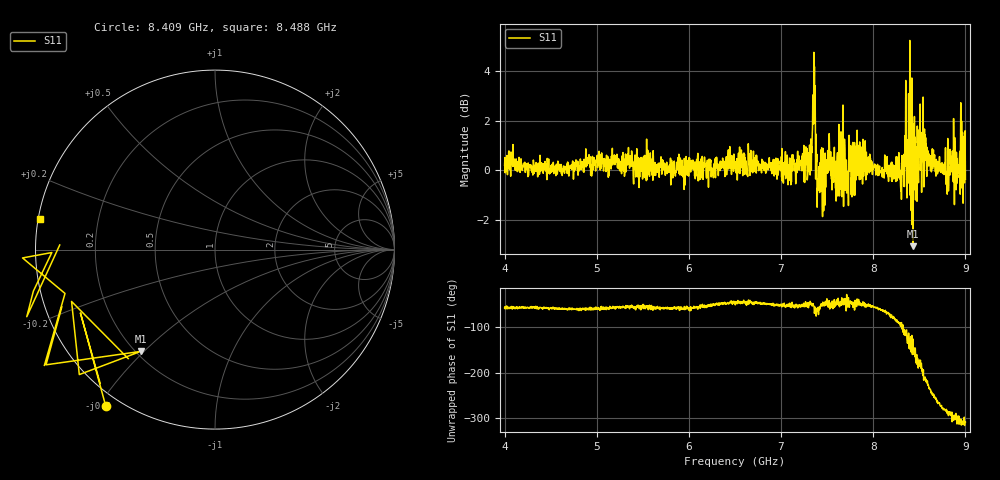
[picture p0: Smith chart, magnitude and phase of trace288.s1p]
! Created with skrf 1.8.0 (http://scikit-rf.org).
# Hz S RI R 50.0
!freq ReS11 ImS11
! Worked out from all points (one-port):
!   1601 points, 4 GHz to 9 GHz, reference 50 ohm
!   lowest |S11| = -3.1 dB at 8.431 GHz (marker M1), VSWR 5.72, Z = 10.9 - j24.4 ohm
!   |S11| at or under -10 dB: nowhere
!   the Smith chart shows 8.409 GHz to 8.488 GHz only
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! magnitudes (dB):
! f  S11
! 4 GHz  0.2
! 4.625 GHz  -0.2
! 5.25 GHz  0.1
! 5.875 GHz  0.0
! 6.5 GHz  0.1
! 7.125 GHz  0.2
! 7.309 GHz  1.0
! 7.347 GHz  3.0
! 7.362 GHz  4.2
! 7.397 GHz  -0.8
! 7.412 GHz  -0.6
! 7.519 GHz  0.2
! 7.616 GHz  -1.0
! 7.669 GHz  1.6
! 7.703 GHz  0.4
! 7.75 GHz  0.0
! 7.891 GHz  0.4
! 8.312 GHz  0.6
! 8.334 GHz  0.6
! 8.375 GHz  1.2
! 8.412 GHz  -1.6
! 8.431 GHz  -3.1
! 8.519 GHz  1.4
! 8.806 GHz  0.1
! 8.853 GHz  0.6
! 8.919 GHz  -0.3
! 8.972 GHz  -0.1
! 9 GHz  -0.4
